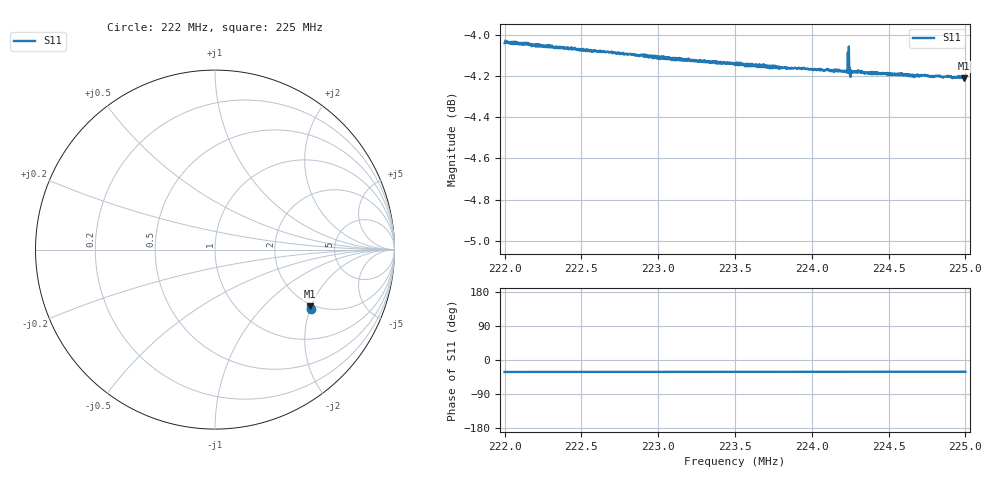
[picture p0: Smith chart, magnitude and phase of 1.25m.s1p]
! Calibrated averaged scanner-service zoom
# Hz S RI R 50
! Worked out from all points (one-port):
!   1001 points, 222 MHz to 225 MHz, reference 50 ohm
!   lowest |S11| = -4.2 dB at 224.99 MHz (marker M1), VSWR 4.21, Z = 96 - j98.1 ohm
!   |S11| at or under -10 dB: nowhere
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2.22e8  0.5353 -0.3287
2.22144e8  0.5355 -0.3285
2.22189e8  0.5347 -0.3278
2.22375e8  0.5342 -0.327
2.2275e8  0.5328 -0.3256
2.23125e8  0.5319 -0.3236
2.235e8  0.531 -0.3223
2.23875e8  0.5301 -0.3204
2.23929e8  0.5301 -0.3203
2.2413e8  0.5296 -0.3194
2.24163e8  0.5296 -0.3195
2.24208e8  0.5294 -0.3191
2.24217e8  0.5294 -0.3192
2.2422e8  0.5292 -0.3191
2.24223e8  0.5298 -0.3192
2.24226e8  0.5296 -0.3193
2.24238e8  0.5295 -0.3192
2.2425e8  0.5296 -0.3192
2.24253e8  0.5257 -0.3217
2.24256e8  0.5297 -0.3194
2.24259e8  0.5298 -0.319
2.24268e8  0.529 -0.319
2.24271e8  0.5295 -0.3191
2.2431e8  0.5296 -0.3191
2.24343e8  0.5289 -0.3185
2.24625e8  0.5291 -0.3179
2.24991e8  0.5281 -0.3169
2.25e8  0.5283 -0.3171
